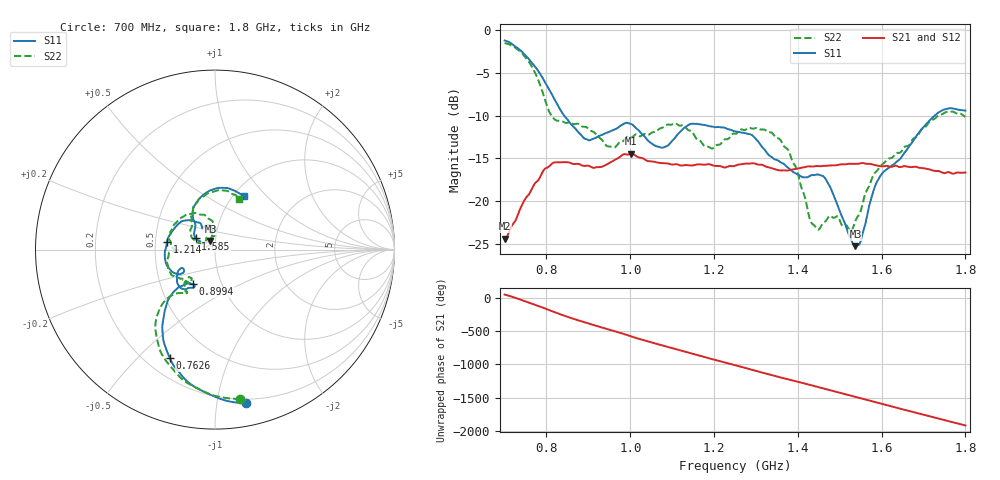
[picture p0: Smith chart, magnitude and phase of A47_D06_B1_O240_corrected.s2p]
! Created with skrf 1.9.0 (http://scikit-rf.org).
# Hz S RI R 50.0
!freq ReS11 ImS11 ReS21 ImS21 ReS12 ImS12 ReS22 ImS22
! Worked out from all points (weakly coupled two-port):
!   1601 points, 700 MHz to 1.8 GHz, reference 50 ohm
!   highest |S21| = -14.46 dB at 1.002 GHz (marker M1); lowest = -24.4 dB at 700.7 MHz (marker M2)
!   lowest |S11| = -25.3 dB at 1.537 GHz (marker M3), VSWR 1.12, Z = 47.3 + j4.56 ohm
!   |S11| at or under -10 dB: 842.1 MHz to 1.726 GHz (884.3 MHz wide, 68.9 % of centre)
!   |S22| runs from -23.5 to -1.5 dB; largest |S21 - S12| = 0.0035
!   S11 on the Smith chart (normalised r, x): 700 MHz: 0.17, -1.21; 762.6 MHz: 0.30, -0.63; 899.4 MHz: 0.73, -0.30; 1.214 GHz: 0.58, +0.05; 1.585 GHz: 0.80, +0.10; 1.8 GHz: 1.12, +0.75
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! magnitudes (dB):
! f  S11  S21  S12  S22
! 700 MHz  -1.2  -24.4  -24.2  -1.5
! 700.7 MHz  -1.2  -24.4  -24.1  -1.5
! 762.6 MHz  -3.7  -18.8  -18.8  -4.0
! 815.5 MHz  -7.7  -15.5  -15.6  -10.2
! 883.6 MHz  -12.3  -15.8  -15.7  -11.2
! 899.4 MHz  -12.8  -15.9  -15.9  -11.5
! 957.1 MHz  -11.7  -15.3  -15.3  -13.7
! 1.002 GHz  -11.0  -14.5  -14.6  -12.6
! 1.067 GHz  -13.6  -15.5  -15.5  -11.6
! 1.143 GHz  -11.0  -15.8  -15.8  -11.8
! 1.214 GHz  -11.4  -15.9  -15.9  -13.4
! 1.25 GHz  -11.8  -15.9  -15.8  -12.1
! 1.358 GHz  -15.4  -16.4  -16.4  -12.8
! 1.396 GHz  -16.8  -16.2  -16.2  -16.1
! 1.434 GHz  -17.0  -16.0  -15.9  -22.6
! 1.469 GHz  -17.6  -15.9  -15.9  -22.2
! 1.537 GHz  -25.3  -15.6  -15.6  -22.3
! 1.551 GHz  -24.5  -15.6  -15.6  -21.0
! 1.585 GHz  -18.1  -15.8  -15.8  -16.6
! 1.617 GHz  -16.1  -15.9  -15.9  -15.0
! 1.733 GHz  -9.7  -16.5  -16.5  -10.1
! 1.8 GHz  -9.4  -16.7  -16.7  -10.1
